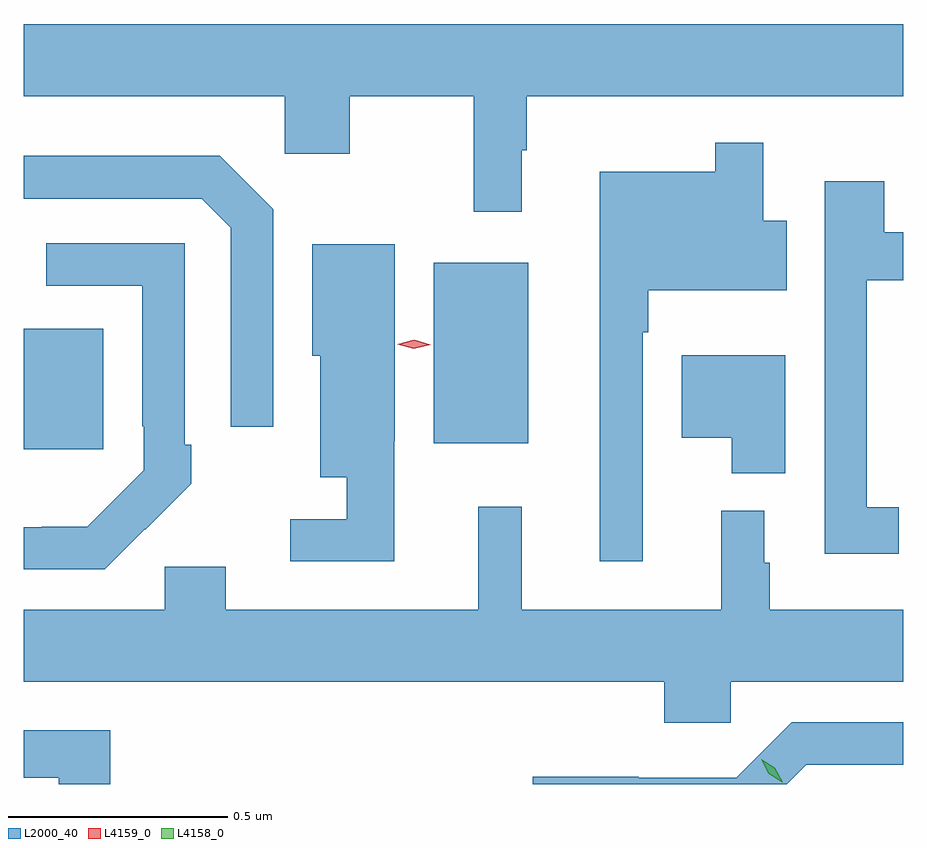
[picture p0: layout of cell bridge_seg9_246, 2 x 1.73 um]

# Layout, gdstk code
import gdstk
lib = gdstk.Library(unit=1e-6, precision=1e-09)
def R(c, l, rs):  # rectangles x0, y0, x1, y1
    for r in rs: c.add(gdstk.rectangle(r[:2], r[2:], *l))
def P(c, l, *ps):  # polygons
    for p in ps: c.add(gdstk.Polygon(p, *l))
L2000_40 = (2000, 40)
L4158_0 = (4158, 0)
L4159_0 = (4159, 0)

bridge_seg9_246 = lib.new_cell('bridge_seg9_246')
R(bridge_seg9_246, L2000_40, [(290.964,1203.609,291.145,1203.883), (291.896,1203.623,292.111,1204.033)])
P(bridge_seg9_246, L2000_40, [(292.096,1204.289),(292.108,1204.289),(292.108,1204.412),(292.964,1204.412),(292.964,1204.576),(290.964,1204.576),(290.964,1204.412),(291.558,1204.412),(291.558,1204.281),(291.705,1204.281),(291.705,1204.412),(291.987,1204.412),(291.987,1204.149),(292.096,1204.149)],
  [(292.371,1203.875),(292.384,1203.875),(292.384,1203.971),(292.699,1203.971),(292.699,1204.129),(292.645,1204.129),(292.645,1204.306),(292.536,1204.306),(292.536,1204.24),(292.274,1204.24),(292.274,1203.354),(292.371,1203.354)],
  [(291.531,1204.155),(291.41,1204.276),(290.964,1204.276),(290.964,1204.179),(291.369,1204.179),(291.435,1204.113),(291.435,1203.66),(291.531,1203.66)],
  [(292.954,1203.477),(292.881,1203.477),(292.881,1203.993),(292.964,1203.993),(292.964,1204.102),(292.921,1204.102),(292.921,1204.219),(292.785,1204.219),(292.785,1203.372),(292.954,1203.372)],
  [(291.239,1203.427),(291.24,1203.426),(291.345,1203.531),(291.345,1203.619),(291.33,1203.619),(291.33,1204.077),(291.015,1204.077),(291.015,1203.981),(291.234,1203.981),(291.234,1203.661),(291.237,1203.661),(291.237,1203.561),(291.109,1203.433),(291.005,1203.433),(291.005,1203.432),(290.964,1203.432),(290.964,1203.336),(291.148,1203.336)],
  [(291.807,1203.627),(291.808,1203.627),(291.808,1204.075),(291.62,1204.075),(291.62,1203.822),(291.638,1203.822),(291.638,1203.545),(291.699,1203.545),(291.699,1203.45),(291.57,1203.45),(291.57,1203.354),(291.807,1203.354)],
  [(292.696,1203.823),(292.46,1203.823),(292.46,1203.635),(292.574,1203.635),(292.574,1203.554),(292.696,1203.554)],
  [(292.572,1203.08),(292.964,1203.08),(292.964,1203.244),(292.66,1203.244),(292.66,1203.351),(292.648,1203.351),(292.648,1203.469),(292.55,1203.469),(292.55,1203.244),(292.097,1203.244),(292.097,1203.478),(291.998,1203.478),(291.998,1203.244),(291.424,1203.244),(291.424,1203.342),(291.285,1203.342),(291.285,1203.244),(290.964,1203.244),(290.964,1203.08),(292.421,1203.08),(292.421,1202.987),(292.572,1202.987)],
  [(292.743,1202.892),(292.964,1202.892),(292.964,1202.988),(292.71,1202.988),(292.584,1202.862),(292.362,1202.862),(292.362,1202.864),(292.122,1202.864),(292.122,1202.848),(292.699,1202.848)],
  [(291.161,1202.97),(290.964,1202.97),(290.964,1202.862),(291.044,1202.862),(291.044,1202.848),(291.161,1202.848)])
P(bridge_seg9_246, L4158_0, [(292.689,1202.852),(292.658,1202.871),(292.641,1202.904),(292.641,1202.904),(292.641,1202.904),(292.672,1202.885),(292.69,1202.852),(292.69,1202.852)])
P(bridge_seg9_246, L4159_0, [(291.851,1203.838),(291.813,1203.848),(291.813,1203.848),(291.813,1203.848),(291.852,1203.858),(291.89,1203.847),(291.89,1203.847),(291.89,1203.847)])

lib.write_gds('bridge_seg9_246.gds')
